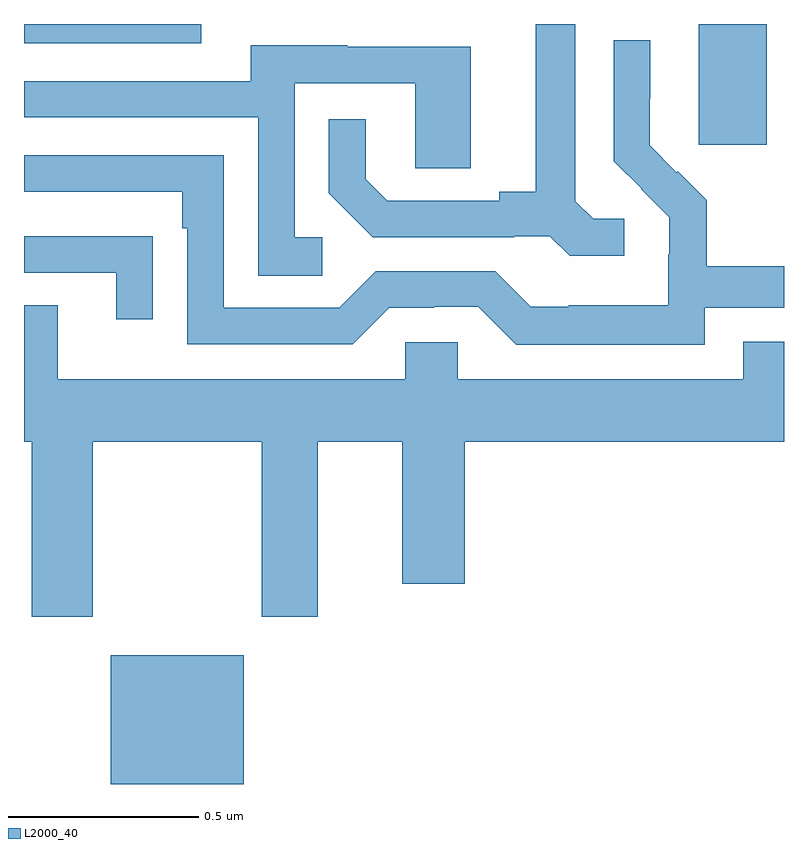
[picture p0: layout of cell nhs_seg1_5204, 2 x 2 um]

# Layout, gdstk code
import gdstk
lib = gdstk.Library(unit=1e-6, precision=1e-09)
def R(c, l, rs):  # rectangles x0, y0, x1, y1
    for r in rs: c.add(gdstk.rectangle(r[:2], r[2:], *l))
def P(c, l, *ps):  # polygons
    for p in ps: c.add(gdstk.Polygon(p, *l))
L2000_40 = (2000, 40)

nhs_seg1_5204 = lib.new_cell('nhs_seg1_5204')
R(nhs_seg1_5204, L2000_40, [(176.228,516.199,176.578,516.538), (177.776,517.881,177.955,518.199), (176,518.148,176.467,518.199)])
P(nhs_seg1_5204, L2000_40, [(177.58,517.686),(177.498,517.686),(177.451,517.733),(177.451,518.199),(177.347,518.199),(177.347,517.757),(177.251,517.757),(177.251,517.734),(176.956,517.734),(176.899,517.791),(176.899,517.948),(176.802,517.948),(176.802,517.754),(176.918,517.638),(177.29,517.638),(177.29,517.641),(177.384,517.641),(177.436,517.589),(177.58,517.589)],
  [(177.792,517.452),(178,517.452),(178,517.561),(177.797,517.561),(177.797,517.735),(177.72,517.812),(177.717,517.809),(177.647,517.88),(177.647,518.002),(177.648,518.002),(177.648,518.156),(177.552,518.156),(177.552,517.838),(177.625,517.765),(177.624,517.764),(177.698,517.69),(177.698,517.593),(177.696,517.593),(177.696,517.459),(177.433,517.459),(177.433,517.455),(177.333,517.455),(177.24,517.548),(176.925,517.548),(176.829,517.452),(176.526,517.452),(176.526,517.854),(176,517.854),(176,517.758),(176.417,517.758),(176.417,517.661),(176.43,517.661),(176.43,517.356),(176.865,517.356),(176.961,517.452),(177.08,517.452),(177.08,517.455),(177.195,517.455),(177.295,517.355),(177.792,517.355)],
  [(176.785,517.638),(176.712,517.638),(176.712,518.043),(177.03,518.043),(177.03,517.819),(177.175,517.819),(177.175,518.139),(176.851,518.139),(176.851,518.143),(176.597,518.143),(176.597,518.049),(176,518.049),(176,517.953),(176.616,517.953),(176.616,517.537),(176.785,517.537)],
  [(176.339,517.64),(176.237,517.64),(176.237,517.641),(176,517.641),(176,517.545),(176.243,517.545),(176.243,517.422),(176.339,517.422)],
  [(176.181,517.1),(176.626,517.1),(176.626,516.639),(176.773,516.639),(176.773,517.1),(176.996,517.1),(176.996,516.726),(177.16,516.726),(177.16,517.1),(178,517.1),(178,517.363),(177.893,517.363),(177.893,517.264),(177.141,517.264),(177.141,517.362),(177.003,517.362),(177.003,517.264),(176.089,517.264),(176.089,517.459),(176,517.459),(176,517.1),(176.021,517.1),(176.021,516.639),(176.181,516.639)])

lib.write_gds('nhs_seg1_5204.gds')
